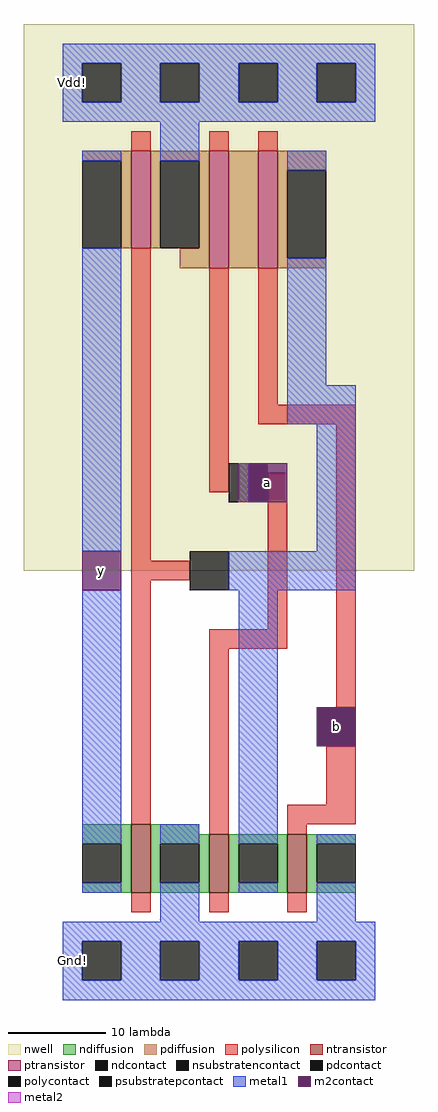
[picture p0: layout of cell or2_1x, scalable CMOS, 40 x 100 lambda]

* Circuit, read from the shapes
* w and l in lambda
.subckt or2_1x Gnd! Vdd! a b y
M1 Gnd! n1 y Gnd! nfet w=7 l=2
M2 n1 a Gnd! Gnd! nfet w=6 l=2
M3 Gnd! b n1 Gnd! nfet w=6 l=2
M4 Vdd! n1 y Vdd! pfet w=10 l=2
M5 n2 a Vdd! Vdd! pfet w=12 l=2
M6 n1 b n2 Vdd! pfet w=12 l=2
.ends

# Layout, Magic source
magic
tech scmos
<< nwell >>
rect -6 40 34 96
<< ntransistor >>
rect 5 7 7 14
rect 13 7 15 13
rect 21 7 23 13
<< ptransistor >>
rect 5 73 7 83
rect 13 71 15 83
rect 18 71 20 83
<< ndiffusion >>
rect 0 12 5 14
rect 4 8 5 12
rect 0 7 5 8
rect 7 13 12 14
rect 7 12 13 13
rect 7 8 8 12
rect 12 8 13 12
rect 7 7 13 8
rect 15 12 21 13
rect 15 8 16 12
rect 20 8 21 12
rect 15 7 21 8
rect 23 12 28 13
rect 23 8 24 12
rect 23 7 28 8
<< pdiffusion >>
rect 0 82 5 83
rect 4 73 5 82
rect 7 82 13 83
rect 7 73 8 82
rect 12 73 13 82
rect 10 71 13 73
rect 15 71 18 83
rect 20 81 25 83
rect 20 72 21 81
rect 20 71 25 72
<< ndcontact >>
rect 0 8 4 12
rect 8 8 12 12
rect 16 8 20 12
rect 24 8 28 12
<< pdcontact >>
rect 0 73 4 82
rect 8 73 12 82
rect 21 72 25 81
<< psubstratepcontact >>
rect 0 -2 4 2
rect 8 -2 12 2
rect 16 -2 20 2
rect 24 -2 28 2
<< nsubstratencontact >>
rect 0 88 4 92
rect 8 88 12 92
rect 16 88 20 92
rect 24 88 28 92
<< polysilicon >>
rect 5 83 7 85
rect 13 83 15 85
rect 18 83 20 85
rect 5 41 7 73
rect 13 48 15 71
rect 18 57 20 71
rect 18 55 28 57
rect 5 39 11 41
rect 5 14 7 39
rect 19 34 21 50
rect 13 32 21 34
rect 13 13 15 32
rect 26 26 28 55
rect 25 16 28 22
rect 21 14 28 16
rect 21 13 23 14
rect 5 5 7 7
rect 13 5 15 7
rect 21 5 23 7
<< polycontact >>
rect 15 47 19 51
rect 11 38 15 42
rect 24 22 28 26
<< metal1 >>
rect -2 92 30 94
rect -2 88 0 92
rect 4 88 8 92
rect 12 88 16 92
rect 20 88 24 92
rect 28 88 30 92
rect -2 86 30 88
rect 0 82 4 83
rect 8 82 12 86
rect 21 81 25 83
rect 0 42 4 73
rect 21 59 25 72
rect 21 55 28 59
rect 24 42 28 55
rect 15 38 28 42
rect 0 12 4 38
rect 0 7 4 8
rect 8 12 12 14
rect 8 4 12 8
rect 16 12 20 38
rect 16 7 20 8
rect 24 12 28 13
rect 24 4 28 8
rect -2 2 30 4
rect -2 -2 0 2
rect 4 -2 8 2
rect 12 -2 16 2
rect 20 -2 24 2
rect 28 -2 30 2
rect -2 -4 30 -2
<< m2contact >>
rect 17 47 19 51
rect 19 47 21 51
rect 0 38 4 42
rect 24 22 28 26
<< metal2 >>
rect 16 47 17 51
<< labels >>
rlabel m2contact 19 49 19 49 1 a
rlabel m2contact 26 24 26 24 1 b
rlabel m2contact 2 40 2 40 1 y
rlabel metal1 -1 90 -1 90 3 Vdd!
rlabel metal1 -1 0 -1 0 3 Gnd!
<< end >>
